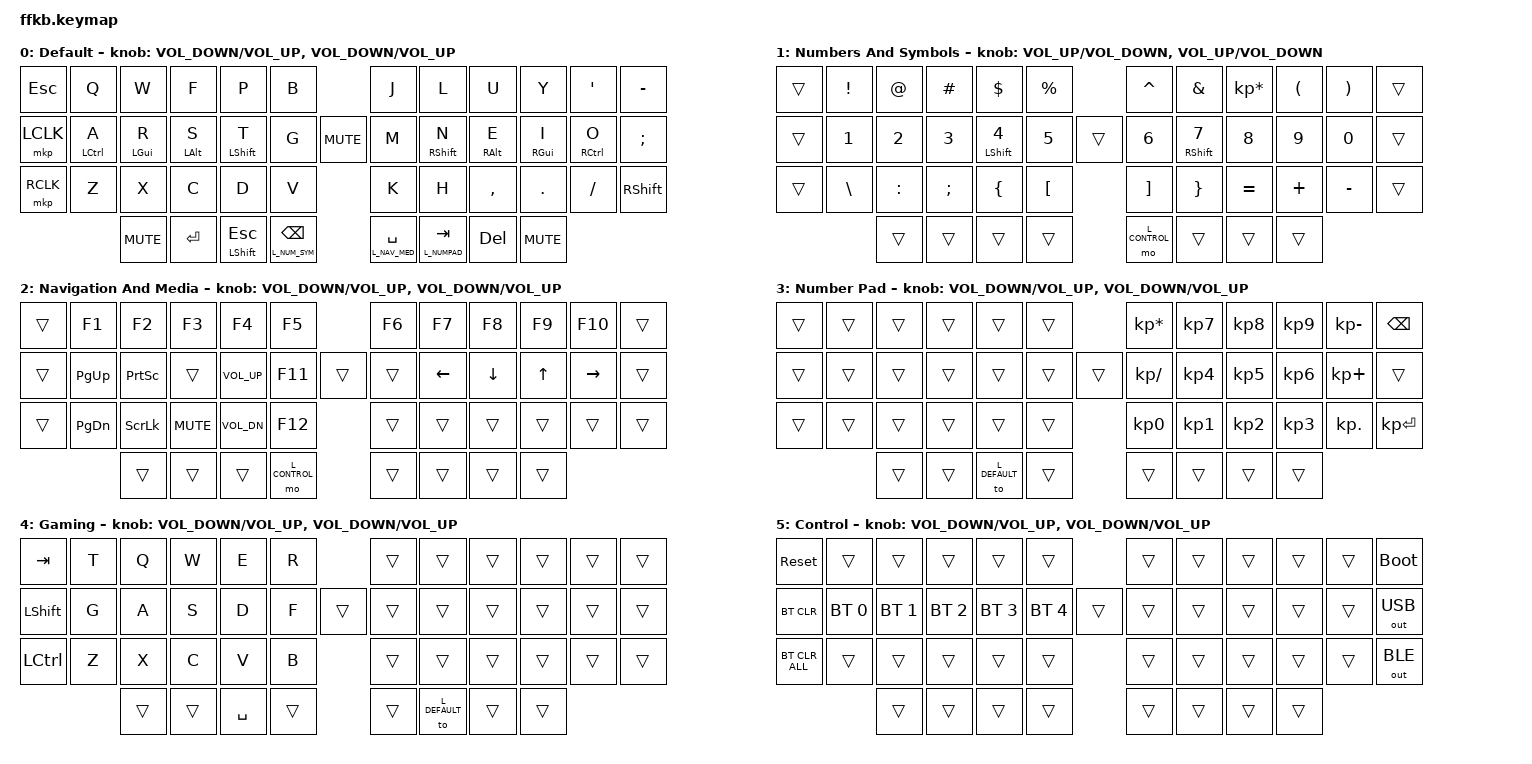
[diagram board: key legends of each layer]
#include <behaviors.dtsi>
#include <dt-bindings/zmk/keys.h>
#include <dt-bindings/zmk/bt.h>
#include <dt-bindings/zmk/ext_power.h>
#include <dt-bindings/zmk/outputs.h>
#include <dt-bindings/zmk/mouse.h>

// global config settings
#define TAPPING_TERM 200
#define QUICK_TAP 180
#define COMBO_TIMEOUT 35

// layer aliases
#define L_DEFAULT 0
#define L_NUM_SYM 1
#define L_NAV_MED 2
#define L_NUMPAD 3
#define L_GAMING 4
#define L_CONTROL 5

#define LHKEYS 1 2 3 4 5 13 14 15 16 17 26 27 28 29 30 37
#define RHKEYS 6 7 8 9 10 19 20 21 22 23 31 32 33 34 35
#define THUMBKEYS 38 39 40 41 42 43

&caps_word {
    continue-list = <UNDERSCORE MINUS BSPC N0 N1 N2 N3 N4 N5 N6 N7 N8 N9>;
};

// allow hold-tap (&lt) to repeat tap the tap behaior on tap then hold
&lt {
    flavor = "balanced";
    tapping-term-ms = <175>;
    quick-tap-ms = <QUICK_TAP>;
};

/ {
    combos {
	compatible = "zmk,combos";
	combo_grave {
	    timeout-ms = <COMBO_TIMEOUT>;
	    key-positions = <1 2>;
	    bindings = <&kp GRAVE>;
	    layers = <0>;
	};
	combo_tilde {
	    timeout-ms = <COMBO_TIMEOUT>;
	    key-positions = <2 3>;
	    bindings = <&kp TILDE>;
	    layers = <0>;
	};
	combo_pipe {
	    timeout-ms = <COMBO_TIMEOUT>;
	    key-positions = <3 4>;
	    bindings = <&kp PIPE>;
	    layers = <0>;
	};
	combo_minus {
	    timeout-ms = <COMBO_TIMEOUT>;
	    key-positions = <9 10>;
	    bindings = <&kp MINUS>;
	    layers = <0>;
	};
	combo_semicolon {
	    timeout-ms = <COMBO_TIMEOUT>;
	    key-positions = <22 23>;
	    bindings = <&kp SEMI>;
	    layers = <0>;
	};
	combo_capsword {
	    timeout-ms = <COMBO_TIMEOUT>;
	    key-positions = <16 20>;
	    bindings = <&caps_word>;
	    layers = <0>;
	};
	combo_middle_mouse_click {
	    timeout-ms = <COMBO_TIMEOUT>;
	    key-positions = <12 25>;
	    bindings = <&mkp MCLK>;
	    layers = <0>;
	};
    };

    sensors {
        compatible = "zmk,keymap-sensors";
        sensors = <&encoder_1 &encoder_2>;
    };

    behaviors {
        hm: homerow_mods {
            compatible = "zmk,behavior-hold-tap";
            label = "HOMEROW_MOD";
            #binding-cells = <2>;
            tapping-term-ms = <TAPPING_TERM>;
            quick-tap-ms = <QUICK_TAP>;
            flavor = "balanced";
            bindings = <&kp>, <&kp>;
        };
        hml: homerow_left {
            compatible = "zmk,behavior-hold-tap";
            label = "HOMEROW_MOD_LEFT";
            #binding-cells = <2>;
            tapping-term-ms = <TAPPING_TERM>;
            quick-tap-ms = <QUICK_TAP>;
            flavor = "balanced";
            hold-trigger-key-positions = <RHKEYS THUMBKEYS>;
            bindings = <&kp>, <&kp>;
        };
        hmr: homerow_right {
            compatible = "zmk,behavior-hold-tap";
            label = "HOMEROW_MOD_RIGHT";
            #binding-cells = <2>;
            tapping-term-ms = <TAPPING_TERM>;
            quick-tap-ms = <QUICK_TAP>;
            flavor = "balanced";
            hold-trigger-key-positions = <LHKEYS THUMBKEYS>;
            bindings = <&kp>, <&kp>;
        };
        hs: homerow_shift {
            compatible = "zmk,behavior-hold-tap";
            label = "HOMEROW_SHIFT";
            #binding-cells = <2>;
            tapping-term-ms = <TAPPING_TERM>;
            quick-tap-ms = <QUICK_TAP>;
            flavor = "balanced";
            bindings = <&kp>, <&kp>;
        };
        hsl: homerow_shift_left {
            compatible = "zmk,behavior-hold-tap";
            label = "HOMEROW_SHIFT_LEFT";
            #binding-cells = <2>;
            tapping-term-ms = <TAPPING_TERM>;
            quick-tap-ms = <QUICK_TAP>;
            flavor = "balanced";
            hold-trigger-key-positions = <RHKEYS THUMBKEYS>;
            bindings = <&kp>, <&kp>;
        };
        hsr: homerow_shift_right {
            compatible = "zmk,behavior-hold-tap";
            label = "HOMEROW_SHIFT_RIGHT";
            #binding-cells = <2>;
            tapping-term-ms = <TAPPING_TERM>;
            quick-tap-ms = <QUICK_TAP>;
            flavor = "balanced";
            hold-trigger-key-positions = <LHKEYS THUMBKEYS>;
            bindings = <&kp>, <&kp>;
        };
        tdreset: tap_dance_reset {
            compatible = "zmk,behavior-tap-dance";
            label = "TAP_DANCE_RESET_BOOTLOADER";
            #binding-cells = <0>;
            tapping-term-ms = <TAPPING_TERM>;
            bindings = <&sys_reset>, <&bootloader>;
        };
    };

    keymap {
        compatible = "zmk,keymap";

        default_layer {
            label = "Default";

            sensor-bindings = <&inc_dec_kp C_VOLUME_DOWN C_VOLUME_UP &inc_dec_kp C_VOLUME_DOWN C_VOLUME_UP>;

            bindings = <
    &kp ESC    &kp Q        &kp W        &kp F        &kp P          &kp B                               &kp J                &kp L             &kp U        &kp Y        &kp SQT      &kp MINUS
    &mkp LCLK  &hml LCTL A  &hml LGUI R  &hml LALT S  &hsl LSHIFT T  &kp G                 &kp C_MUTE    &kp M                &hsr RSHIFT N     &hmr RALT E  &hmr RGUI I  &hmr RCTL O  &kp SEMI
    &mkp RCLK  &kp Z        &kp X        &kp C        &kp D          &kp V                               &kp K                &kp H             &kp COMMA    &kp DOT      &kp FSLH     &kp RSHFT
                            &kp C_MUTE   &kp RET      &mt LSHFT ESC  &lt L_NUM_SYM BSPC                  &lt L_NAV_MED SPACE  &lt L_NUMPAD TAB  &kp DEL      &kp C_MUTE
            >;
        };

        number_symbol_layer {  // 1
            label = "Numbers And Symbols";

            sensor-bindings = <&inc_dec_kp C_VOLUME_UP C_VOLUME_DOWN &inc_dec_kp C_VOLUME_UP C_VOLUME_DOWN>;

// -----------------------------------------------------------------------------------------
// |      |  !  |  @  |  #  |  $  |  %  |   |  ^  |  &  |  *  |  (  |  )  |      |
// |      |  1  |  2  |  3  |  4  |  5  |   |  6  |  7  |  8  |  9  |  0  |      |
// |      |  \  |  :  |  ;  |  {  |  [  |   |  ]  |  }  |  =  |  +  |  -  |      |
//                    |     |     |     |   |     |     |     |
            bindings = <
    &trans  &kp EXCL   &kp AT     &kp HASH  &kp DLLR      &kp PRCNT              &kp CARET      &kp AMPS      &kp KP_MULTIPLY  &kp LPAR  &kp RPAR   &trans
    &trans  &kp N1     &kp N2     &kp N3    &mt LSHFT N4  &kp N5       &trans    &kp N6         &mt RSHFT N7  &kp N8           &kp N9    &kp N0     &trans
    &trans  &kp BSLH   &kp COLON  &kp SEMI  &kp LBRC      &kp LBKT               &kp RBKT       &kp RBRC      &kp EQUAL        &kp PLUS  &kp MINUS  &trans
                       &trans     &trans    &trans        &trans                 &mo L_CONTROL  &trans        &trans           &trans
            >;
        };

        nav_media_layer {  // 2
            label = "Navigation And Media";

            sensor-bindings = <&inc_dec_kp C_VOLUME_DOWN C_VOLUME_UP &inc_dec_kp C_VOLUME_DOWN C_VOLUME_UP>;

// -----------------------------------------------------------------------------------------
// |      |  F1 | F2  | F3  | F4  | F5  |   | F6   |  F7  | F8   | F9  | F10  |      |
// |      | PUP | PRN | BT3 | BT4 | F11 |   | LCLK | LFT  | DOWN | UP  | RGT  |      |
// |      | PDN | SLK |     |     | F12 |   | RCLK | MLFT | MDWN | MUP | MRGT |      |
//                    | GUI |     |     |   |      |      |      |
                        bindings = <
    &trans  &kp F1     &kp F2     &kp F3      &kp F4        &kp F5                     &kp F6     &kp F7       &kp F8       &kp F9     &kp F10       &trans
    &trans  &kp PG_UP  &kp PSCRN  &trans      &kp C_VOL_UP  &kp F11          &trans    &trans     &kp LEFT     &kp DOWN     &kp UP     &kp RIGHT     &trans
    &trans  &kp PG_DN  &kp SLCK   &kp C_MUTE  &kp C_VOL_DN  &kp F12                    &trans     &trans       &trans       &trans     &trans        &trans
                       &trans     &trans      &trans        &mo L_CONTROL              &trans     &trans       &trans       &trans
            >;
        };

        numpad_layer {  // 3
            label = "Number Pad";

            sensor-bindings = <&inc_dec_kp C_VOLUME_DOWN C_VOLUME_UP &inc_dec_kp C_VOLUME_DOWN C_VOLUME_UP>;

// -----------------------------------------------------------------------------------------
// |      |     |     |     |     |     |   |   *  | NUM7 | NUM8 |  NUM9  |  -  |      |
// |      |     |     |     |     |     |   |   /  | NUM4 | NUM5 |  NUM6  |  +  |      |
// |      |     |     |     |     |     |   | NUM0 | NUM1 | NUM2 |  NUM3  |  .  |      |
//                    |     |     | L0  |   | ENTR | BSPC |      |
            bindings = <
    &trans  &trans  &trans  &trans  &trans         &trans              &kp KP_MULTIPLY  &kp KP_N7  &kp KP_N8  &kp KP_N9  &kp KP_MINUS  &kp BSPC
    &trans  &trans  &trans  &trans  &trans         &trans    &trans    &kp KP_DIVIDE    &kp KP_N4  &kp KP_N5  &kp KP_N6  &kp KP_PLUS   &trans
    &trans  &trans  &trans  &trans  &trans         &trans              &kp KP_N0        &kp KP_N1  &kp KP_N2  &kp KP_N3  &kp KP_DOT    &kp KP_ENTER
                    &trans  &trans  &to L_DEFAULT  &trans              &trans           &trans     &trans     &trans
            >;
        };

        gaming_layer {  // 4
            label = "Gaming";

            sensor-bindings = <&inc_dec_kp C_VOLUME_DOWN C_VOLUME_UP &inc_dec_kp C_VOLUME_DOWN C_VOLUME_UP>;

// -----------------------------------------------------------------------------------------
// |      | TAB  |  Q  |  W  |  E  |  R  |   |     |     |     |     |     |      |
// |      | SHFT |  A  |  S  |  D  |  F  |   |     |     |     |     |     |      |
// |      | CTRL |  X  |  C  |  V  |  B  |   |     |     |     |     |     |      |
//                     |     |     | SPC |   | L0  |     |     |
                        bindings = <
    &kp TAB     &kp T  &kp Q  &kp W    &kp E      &kp R              &trans  &trans         &trans  &trans  &trans  &trans
    &kp LSHIFT  &kp G  &kp A  &kp S    &kp D      &kp F    &trans    &trans  &trans         &trans  &trans  &trans  &trans
    &kp LCTRL   &kp Z  &kp X  &kp C    &kp V      &kp B              &trans  &trans         &trans  &trans  &trans  &trans
                       &trans  &trans  &kp SPACE  &trans             &trans  &to L_DEFAULT  &trans  &trans
                        >;
                };

        control_layer {  // 5
            label = "Control";

            sensor-bindings = <&inc_dec_kp C_VOLUME_DOWN C_VOLUME_UP &inc_dec_kp C_VOLUME_DOWN C_VOLUME_UP>;

// -----------------------------------------------------------------------------------------
// |  TD2 |     |     |     |     |     |   |     |     |     |     |     | TD2  |
// | BTCLR| BT1 | BT2 | BT3 | BT4 | BT5 |   |     |     |     |     |     |      |
// |      |     |     |     |     |     |   |     |     |     |     |     |      |
//                    |     |     |     |   |     |     |     |
                        bindings = <
    &sys_reset      &trans        &trans        &trans        &trans        &trans                    &trans  &trans  &trans  &trans  &trans  &bootloader
    &bt BT_CLR      &bt BT_SEL 0  &bt BT_SEL 1  &bt BT_SEL 2  &bt BT_SEL 3  &bt BT_SEL 4    &trans    &trans  &trans  &trans  &trans  &trans  &out OUT_USB
    &bt BT_CLR_ALL  &trans        &trans        &trans        &trans        &trans                    &trans  &trans  &trans  &trans  &trans  &out OUT_BLE
                                  &trans        &trans        &trans        &trans                    &trans  &trans  &trans  &trans
            >;
        };

    };
};

